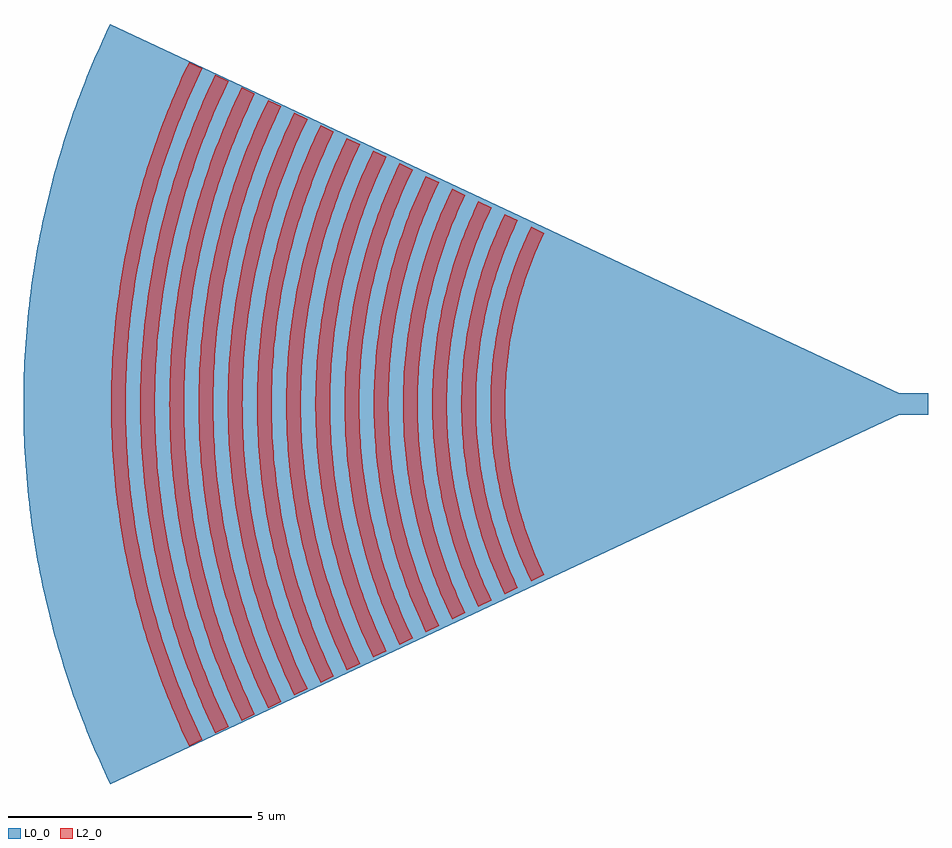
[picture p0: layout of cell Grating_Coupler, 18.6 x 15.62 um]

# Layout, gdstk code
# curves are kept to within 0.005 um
import gdstk
lib = gdstk.Library(unit=1e-6, precision=1e-09)
def R(c, l, rs):  # rectangles x0, y0, x1, y1
    for r in rs: c.add(gdstk.rectangle(r[:2], r[2:], *l))
def P(c, l, *ps):  # polygons
    for p in ps: c.add(gdstk.Polygon(p, *l))
L0_0 = (0, 0)
L2_0 = (2, 0)

grating_coupler = lib.new_cell('Grating_Coupler')
R(grating_coupler, L0_0, [(-0.6,-0.225,0,0.225)])
P(grating_coupler, L0_0, [(-16.817,-7.81),(-17.144,-7.093),(-17.344,-6.607),(-17.53,-6.115),(-17.701,-5.618),(-17.857,-5.117),(-17.999,-4.611),(-18.127,-4.102),(-18.239,-3.588),(-18.336,-3.072),(-18.399,-2.683),(-18.47,-2.162),(-18.513,-1.771),(-18.557,-1.247),(-18.586,-0.722),(-18.6,-0.065),(-18.594,0.46),(-18.573,0.985),(-18.525,1.64),(-18.485,2.032),(-18.418,2.553),(-18.336,3.072),(-18.239,3.588),(-18.127,4.102),(-17.999,4.611),(-17.857,5.117),(-17.701,5.618),(-17.53,6.115),(-17.344,6.607),(-17.144,7.093),(-16.817,7.81),(-0.6,0.225),(-0.6,-0.225)],
  [(-0.131,-0.024),(-0.131,-0.024),(-0.128,-0.024),(-0.128,-0.024)])
P(grating_coupler, L2_0, [(-15.196,-7.029),(-15.404,-6.578),(-15.552,-6.235),(-15.736,-5.774),(-15.865,-5.424),(-15.986,-5.071),(-16.134,-4.597),(-16.268,-4.118),(-16.387,-3.635),(-16.491,-3.149),(-16.58,-2.66),(-16.637,-2.291),(-16.7,-1.798),(-16.766,-1.055),(-16.786,-0.683),(-16.8,-0.062),(-16.797,0.311),(-16.78,0.808),(-16.747,1.304),(-16.7,1.798),(-16.637,2.291),(-16.58,2.66),(-16.491,3.149),(-16.387,3.635),(-16.268,4.118),(-16.134,4.597),(-15.986,5.071),(-15.865,5.424),(-15.736,5.774),(-15.552,6.235),(-15.404,6.578),(-15.196,7.029),(-14.926,6.899),(-15.182,6.34),(-15.325,5.999),(-15.46,5.656),(-15.628,5.194),(-15.745,4.843),(-15.887,4.372),(-15.985,4.016),(-16.102,3.538),(-16.204,3.056),(-16.291,2.572),(-16.363,2.086),(-16.407,1.719),(-16.453,1.229),(-16.477,0.861),(-16.496,0.369),(-16.5,0),(-16.496,-0.369),(-16.477,-0.861),(-16.453,-1.229),(-16.407,-1.719),(-16.363,-2.086),(-16.291,-2.572),(-16.204,-3.056),(-16.102,-3.538),(-15.985,-4.016),(-15.887,-4.372),(-15.745,-4.843),(-15.628,-5.194),(-15.46,-5.656),(-15.325,-5.999),(-15.182,-6.34),(-14.926,-6.899)],
  [(-14.655,-6.769),(-14.811,-6.435),(-15.007,-5.984),(-15.188,-5.527),(-15.355,-5.065),(-15.507,-4.598),(-15.611,-4.245),(-15.707,-3.889),(-15.823,-3.412),(-15.967,-2.689),(-16.026,-2.325),(-16.105,-1.716),(-16.142,-1.349),(-16.177,-0.859),(-16.196,-0.368),(-16.2,0),(-16.196,0.368),(-16.177,0.859),(-16.142,1.349),(-16.105,1.716),(-16.026,2.325),(-15.967,2.689),(-15.823,3.412),(-15.707,3.889),(-15.611,4.245),(-15.507,4.598),(-15.355,5.065),(-15.188,5.527),(-15.007,5.984),(-14.811,6.435),(-14.655,6.769),(-14.385,6.638),(-14.686,5.974),(-14.868,5.524),(-15.037,5.068),(-15.262,4.374),(-15.393,3.906),(-15.482,3.553),(-15.587,3.078),(-15.656,2.72),(-15.735,2.24),(-15.799,1.759),(-15.847,1.274),(-15.873,0.911),(-15.894,0.425),(-15.9,0.061),(-15.897,-0.304),(-15.88,-0.79),(-15.847,-1.274),(-15.799,-1.759),(-15.698,-2.48),(-15.611,-2.959),(-15.536,-3.316),(-15.424,-3.788),(-15.296,-4.258),(-15.153,-4.722),(-15.037,-5.068),(-14.868,-5.524),(-14.686,-5.974),(-14.385,-6.638)],
  [(-14.114,-6.508),(-14.412,-5.851),(-14.592,-5.405),(-14.758,-4.954),(-14.91,-4.498),(-15.014,-4.153),(-15.109,-3.805),(-15.224,-3.338),(-15.3,-2.985),(-15.388,-2.513),(-15.461,-2.038),(-15.506,-1.679),(-15.542,-1.321),(-15.577,-0.841),(-15.596,-0.361),(-15.6,0),(-15.596,0.361),(-15.577,0.841),(-15.542,1.321),(-15.506,1.679),(-15.461,2.038),(-15.388,2.513),(-15.3,2.985),(-15.224,3.338),(-15.109,3.805),(-15.014,4.153),(-14.91,4.498),(-14.758,4.954),(-14.504,5.629),(-14.365,5.962),(-14.114,6.508),(-13.844,6.378),(-14.044,5.947),(-14.184,5.618),(-14.359,5.176),(-14.48,4.841),(-14.629,4.39),(-14.732,4.048),(-14.855,3.589),(-14.938,3.242),(-15.079,2.543),(-15.136,2.191),(-15.199,1.72),(-15.247,1.247),(-15.273,0.891),(-15.294,0.416),(-15.3,0.059),(-15.286,-0.653),(-15.257,-1.128),(-15.225,-1.483),(-15.185,-1.838),(-15.118,-2.308),(-15.058,-2.66),(-14.938,-3.242),(-14.855,-3.589),(-14.732,-4.048),(-14.629,-4.39),(-14.48,-4.841),(-14.359,-5.176),(-14.184,-5.618),(-14.044,-5.947),(-13.844,-6.378)],
  [(-13.574,-6.248),(-13.864,-5.605),(-14.04,-5.17),(-14.162,-4.839),(-14.277,-4.505),(-14.417,-4.057),(-14.542,-3.604),(-14.626,-3.262),(-14.725,-2.802),(-14.789,-2.456),(-14.845,-2.107),(-14.906,-1.642),(-14.942,-1.291),(-14.977,-0.822),(-14.996,-0.352),(-15,0),(-14.996,0.352),(-14.977,0.822),(-14.942,1.291),(-14.906,1.642),(-14.845,2.107),(-14.789,2.456),(-14.725,2.802),(-14.626,3.262),(-14.542,3.604),(-14.417,4.057),(-14.277,4.505),(-14.162,4.839),(-14.04,5.17),(-13.864,5.605),(-13.574,6.248),(-13.304,6.118),(-13.591,5.483),(-13.722,5.161),(-13.885,4.726),(-14.033,4.285),(-14.135,3.952),(-14.314,3.279),(-14.414,2.825),(-14.48,2.483),(-14.537,2.14),(-14.6,1.679),(-14.637,1.333),(-14.673,0.87),(-14.694,0.406),(-14.7,0.058),(-14.686,-0.638),(-14.657,-1.102),(-14.626,-1.449),(-14.57,-1.91),(-14.519,-2.254),(-14.459,-2.597),(-14.366,-3.053),(-14.258,-3.504),(-14.167,-3.841),(-14.033,-4.285),(-13.885,-4.726),(-13.722,-5.161),(-13.591,-5.483),(-13.304,-6.118)],
  [(-13.033,-5.987),(-13.226,-5.571),(-13.36,-5.255),(-13.528,-4.828),(-13.645,-4.504),(-13.853,-3.848),(-13.945,-3.516),(-14.054,-3.071),(-14.149,-2.622),(-14.21,-2.284),(-14.263,-1.943),(-14.32,-1.488),(-14.377,-0.802),(-14.396,-0.344),(-14.4,0),(-14.396,0.344),(-14.377,0.802),(-14.32,1.488),(-14.263,1.943),(-14.21,2.284),(-14.149,2.622),(-14.054,3.071),(-13.945,3.516),(-13.853,3.848),(-13.645,4.504),(-13.528,4.828),(-13.36,5.255),(-13.226,5.571),(-13.033,5.987),(-12.763,5.857),(-13.045,5.232),(-13.174,4.915),(-13.333,4.486),(-13.478,4.052),(-13.576,3.724),(-13.667,3.393),(-13.774,2.948),(-13.907,2.275),(-13.976,1.823),(-14.018,1.483),(-14.061,1.028),(-14.083,0.686),(-14.1,0),(-14.083,-0.686),(-14.061,-1.028),(-14.018,-1.483),(-13.976,-1.823),(-13.907,-2.275),(-13.774,-2.948),(-13.667,-3.393),(-13.576,-3.724),(-13.478,-4.052),(-13.333,-4.486),(-13.174,-4.915),(-13.045,-5.232),(-12.763,-5.857)],
  [(-12.493,-5.727),(-12.771,-5.11),(-12.898,-4.796),(-13.055,-4.373),(-13.163,-4.052),(-13.294,-3.62),(-13.463,-2.965),(-13.535,-2.634),(-13.617,-2.19),(-13.669,-1.856),(-13.725,-1.408),(-13.78,-0.733),(-13.8,-0.056),(-13.786,0.62),(-13.765,0.958),(-13.725,1.408),(-13.669,1.856),(-13.617,2.19),(-13.535,2.634),(-13.463,2.965),(-13.294,3.62),(-13.163,4.052),(-13.055,4.373),(-12.898,4.796),(-12.771,5.11),(-12.493,5.727),(-12.223,5.597),(-12.497,4.988),(-12.662,4.574),(-12.776,4.261),(-12.883,3.944),(-13.011,3.518),(-13.177,2.87),(-13.247,2.544),(-13.327,2.106),(-13.419,1.444),(-13.477,0.779),(-13.496,0.334),(-13.5,0),(-13.496,-0.334),(-13.477,-0.779),(-13.419,-1.444),(-13.327,-2.106),(-13.247,-2.544),(-13.177,-2.87),(-13.011,-3.518),(-12.883,-3.944),(-12.776,-4.261),(-12.662,-4.574),(-12.497,-4.988),(-12.223,-5.597)],
  [(-11.952,-5.467),(-12.223,-4.866),(-12.461,-4.252),(-12.667,-3.626),(-12.758,-3.31),(-12.866,-2.884),(-12.959,-2.455),(-13.019,-2.131),(-13.07,-1.805),(-13.126,-1.37),(-13.18,-0.713),(-13.2,-0.055),(-13.186,0.604),(-13.157,1.042),(-13.126,1.37),(-13.07,1.805),(-13.019,2.131),(-12.959,2.455),(-12.866,2.884),(-12.758,3.31),(-12.667,3.626),(-12.461,4.252),(-12.223,4.866),(-11.952,5.467),(-11.682,5.337),(-11.948,4.744),(-12.183,4.139),(-12.288,3.832),(-12.416,3.418),(-12.58,2.79),(-12.71,2.153),(-12.763,1.833),(-12.82,1.404),(-12.877,0.757),(-12.896,0.325),(-12.9,0),(-12.896,-0.325),(-12.877,-0.757),(-12.82,-1.404),(-12.763,-1.833),(-12.71,-2.153),(-12.58,-2.79),(-12.416,-3.418),(-12.288,-3.832),(-12.183,-4.139),(-11.948,-4.744),(-11.682,-5.337)],
  [(-11.411,-5.207),(-11.635,-4.717),(-11.797,-4.317),(-11.944,-3.913),(-12.139,-3.296),(-12.25,-2.88),(-12.323,-2.565),(-12.388,-2.249),(-12.461,-1.824),(-12.542,-1.183),(-12.583,-0.646),(-12.6,0),(-12.583,0.646),(-12.542,1.183),(-12.461,1.824),(-12.388,2.249),(-12.323,2.565),(-12.25,2.88),(-12.139,3.296),(-11.944,3.913),(-11.797,4.317),(-11.635,4.717),(-11.411,5.207),(-11.141,5.077),(-11.402,4.496),(-11.558,4.101),(-11.665,3.802),(-11.826,3.296),(-11.912,2.99),(-12.013,2.578),(-12.136,1.953),(-12.225,1.323),(-12.28,0.689),(-12.3,0.053),(-12.286,-0.583),(-12.257,-1.007),(-12.225,-1.323),(-12.136,-1.953),(-12.013,-2.578),(-11.884,-3.092),(-11.796,-3.398),(-11.665,-3.802),(-11.558,-4.101),(-11.402,-4.496),(-11.141,-5.077)],
  [(-10.871,-4.946),(-11.003,-4.662),(-11.167,-4.278),(-11.386,-3.691),(-11.572,-3.093),(-11.726,-2.486),(-11.828,-1.974),(-11.893,-1.561),(-11.931,-1.25),(-11.983,-0.626),(-12,0),(-11.983,0.626),(-11.931,1.25),(-11.893,1.561),(-11.828,1.974),(-11.726,2.486),(-11.572,3.093),(-11.386,3.691),(-11.167,4.278),(-11.003,4.662),(-10.871,4.946),(-10.601,4.816),(-10.853,4.254),(-11.073,3.678),(-11.261,3.091),(-11.416,2.495),(-11.538,1.891),(-11.626,1.281),(-11.68,0.667),(-11.7,0.052),(-11.686,-0.565),(-11.666,-0.872),(-11.626,-1.281),(-11.538,-1.891),(-11.416,-2.495),(-11.261,-3.091),(-11.073,-3.678),(-10.853,-4.254),(-10.601,-4.816)],
  [(-10.33,-4.686),(-10.541,-4.221),(-10.764,-3.651),(-10.955,-3.07),(-11.112,-2.478),(-11.236,-1.878),(-11.325,-1.273),(-11.38,-0.663),(-11.4,-0.051),(-11.386,0.561),(-11.357,0.968),(-11.325,1.273),(-11.236,1.878),(-11.135,2.378),(-11.038,2.775),(-10.955,3.07),(-10.798,3.555),(-10.619,4.033),(-10.501,4.315),(-10.33,4.686),(-10.06,4.556),(-10.306,4.007),(-10.486,3.539),(-10.672,2.967),(-10.753,2.677),(-10.848,2.288),(-10.962,1.697),(-11.031,1.201),(-11.083,0.601),(-11.1,0),(-11.083,-0.601),(-11.031,-1.201),(-10.962,-1.697),(-10.848,-2.288),(-10.753,-2.677),(-10.672,-2.967),(-10.486,-3.539),(-10.306,-4.007),(-10.06,-4.556)],
  [(-9.79,-4.426),(-10.031,-3.886),(-10.24,-3.334),(-10.39,-2.865),(-10.539,-2.294),(-10.655,-1.715),(-10.726,-1.228),(-10.78,-0.64),(-10.8,-0.049),(-10.786,0.541),(-10.748,1.032),(-10.671,1.618),(-10.561,2.198),(-10.417,2.77),(-10.24,3.334),(-10.031,3.886),(-9.79,4.426),(-9.52,4.295),(-9.721,3.851),(-9.932,3.304),(-10.111,2.747),(-10.189,2.464),(-10.257,2.179),(-10.353,1.7),(-10.436,1.121),(-10.486,0.537),(-10.5,0.049),(-10.486,-0.537),(-10.447,-1.024),(-10.385,-1.508),(-10.318,-1.892),(-10.257,-2.179),(-10.189,-2.464),(-10.111,-2.747),(-9.932,-3.304),(-9.721,-3.851),(-9.52,-4.295)],
  [(-9.25,-4.165),(-9.483,-3.641),(-9.685,-3.103),(-9.828,-2.646),(-9.949,-2.183),(-10.063,-1.62),(-10.132,-1.146),(-10.183,-0.574),(-10.2,0),(-10.183,0.574),(-10.132,1.146),(-10.063,1.62),(-9.949,2.183),(-9.828,2.646),(-9.685,3.103),(-9.483,3.641),(-9.25,4.165),(-8.979,4.035),(-9.21,3.515),(-9.409,2.982),(-9.55,2.529),(-9.688,1.977),(-9.761,1.604),(-9.842,1.041),(-9.883,0.569),(-9.9,0),(-9.883,-0.569),(-9.842,-1.041),(-9.761,-1.604),(-9.688,-1.977),(-9.55,-2.529),(-9.409,-2.982),(-9.21,-3.515),(-8.979,-4.035)],
  [(-8.709,-3.905),(-8.935,-3.396),(-9.099,-2.962),(-9.266,-2.43),(-9.359,-2.071),(-9.454,-1.616),(-9.537,-1.066),(-9.586,-0.511),(-9.6,-0.046),(-9.586,0.511),(-9.537,1.066),(-9.454,1.616),(-9.359,2.071),(-9.266,2.43),(-9.099,2.962),(-8.935,3.396),(-8.709,3.905),(-8.438,3.775),(-8.627,3.356),(-8.823,2.841),(-8.962,2.403),(-9.077,1.958),(-9.184,1.418),(-9.247,0.962),(-9.286,0.505),(-9.3,0.046),(-9.286,-0.505),(-9.247,-0.962),(-9.184,-1.418),(-9.077,-1.958),(-8.962,-2.403),(-8.823,-2.841),(-8.627,-3.356),(-8.438,-3.775)],
  [(-8.168,-3.644),(-8.317,-3.318),(-8.483,-2.901),(-8.627,-2.476),(-8.769,-1.957),(-8.878,-1.429),(-8.942,-0.985),(-8.983,-0.538),(-9,0),(-8.983,0.538),(-8.942,0.985),(-8.878,1.429),(-8.769,1.957),(-8.627,2.476),(-8.483,2.901),(-8.317,3.318),(-8.168,3.644),(-7.898,3.514),(-8.079,3.11),(-8.238,2.696),(-8.399,2.189),(-8.507,1.759),(-8.605,1.237),(-8.661,0.797),(-8.688,0.443),(-8.7,0),(-8.688,-0.443),(-8.661,-0.797),(-8.605,-1.237),(-8.507,-1.759),(-8.399,-2.189),(-8.238,-2.696),(-8.079,-3.11),(-7.898,-3.514)])

lib.write_gds('Grating_Coupler.gds')
